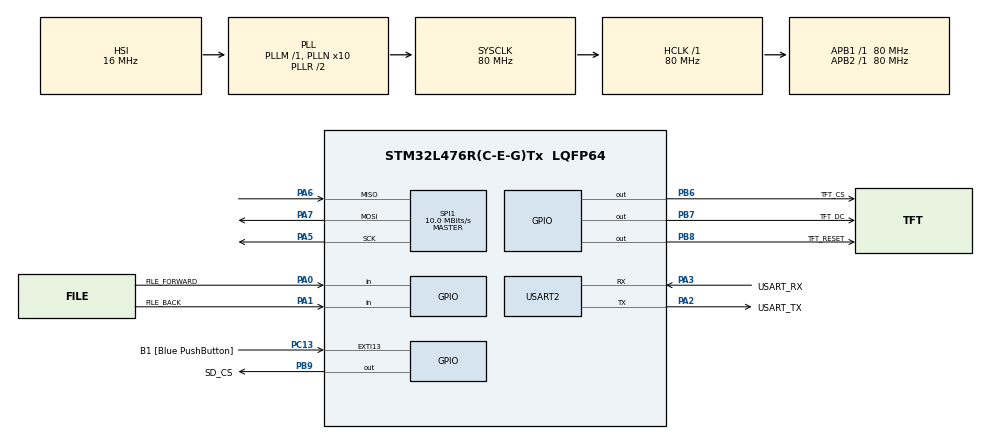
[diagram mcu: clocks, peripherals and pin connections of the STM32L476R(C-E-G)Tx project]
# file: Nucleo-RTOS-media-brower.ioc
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FATFS._USE_LFN=2
FREERTOS.Mutexes01=spiMutex,Dynamic,NULL,Available;fileMutex,Dynamic,NULL,Available
FREERTOS.Tasks01=defaultTask,8,128,StartDefaultTask,Default,NULL,Dynamic,NULL,NULL;DisplayTask,24,1024,DisplayTaskEntry,Default,NULL,Dynamic,NULL,NULL;SDCardTask,16,1024,SDCardTaskEntry,Default,NULL,Dynamic,NULL,NULL;ButtonTask,24,128,ButtonTaskEntry,Default,NULL,Dynamic,NULL,NULL
FREERTOS.configTOTAL_HEAP_SIZE=30720
Mcu.Family=STM32L4
Mcu.Name=STM32L476R(C-E-G)Tx
Mcu.Package=LQFP64
NVIC.PriorityGroup=NVIC_PRIORITYGROUP_4
NVIC.TIM6_DAC_IRQn=true\:15\:0\:false\:false\:true\:false\:false\:true\:true
NVIC.TimeBase=TIM6_DAC_IRQn
NVIC.TimeBaseIP=TIM6
PA0.GPIO_Label=FILE_FORWARD
PA0.GPIO_PuPd=GPIO_PULLUP
PA0.Signal=GPIO_Input
PA1.GPIO_Label=FILE_BACK
PA1.GPIO_PuPd=GPIO_PULLUP
PA1.Signal=GPIO_Input
PA13\ (JTMS-SWDIO).GPIO_Label=TMS
PA13\ (JTMS-SWDIO).Mode=Serial_Wire
PA13\ (JTMS-SWDIO).Signal=SYS_JTMS-SWDIO
PA14\ (JTCK-SWCLK).GPIO_Label=TCK
PA14\ (JTCK-SWCLK).Mode=Serial_Wire
PA14\ (JTCK-SWCLK).Signal=SYS_JTCK-SWCLK
PA2.GPIO_Label=USART_TX
PA2.GPIO_Mode=GPIO_MODE_AF_PP
PA2.GPIO_PuPd=GPIO_NOPULL
PA2.GPIO_Speed=GPIO_SPEED_FREQ_VERY_HIGH
PA2.Mode=Asynchronous
PA2.Signal=USART2_TX
PA3.GPIO_Label=USART_RX
PA3.GPIO_Mode=GPIO_MODE_AF_PP
PA3.GPIO_PuPd=GPIO_NOPULL
PA3.GPIO_Speed=GPIO_SPEED_FREQ_VERY_HIGH
PA3.Mode=Asynchronous
PA3.Signal=USART2_RX
PA5.Mode=Full_Duplex_Master
PA5.Signal=SPI1_SCK
PA6.Mode=Full_Duplex_Master
PA6.Signal=SPI1_MISO
PA7.Mode=Full_Duplex_Master
PA7.Signal=SPI1_MOSI
PB3\ (JTDO-TRACESWO).GPIO_Label=SWO
PB3\ (JTDO-TRACESWO).Signal=SYS_JTDO-SWO
PB6.GPIO_Label=TFT_CS
PB6.Signal=GPIO_Output
PB7.GPIO_Label=TFT_DC
PB7.Signal=GPIO_Output
PB8.GPIO_Label=TFT_RESET
PB8.Signal=GPIO_Output
PB9.GPIO_Label=SD_CS
PB9.Signal=GPIO_Output
PC13.GPIO_Label=B1 [Blue PushButton]
PC13.GPIO_ModeDefaultEXTI=GPIO_MODE_IT_FALLING
PC13.GPIO_PuPd=GPIO_NOPULL
PC13.Signal=GPXTI13
PC14-OSC32_IN\ (PC14).Mode=LSE-External-Oscillator
PC14-OSC32_IN\ (PC14).Signal=RCC_OSC32_IN
PC15-OSC32_OUT\ (PC15).Mode=LSE-External-Oscillator
PC15-OSC32_OUT\ (PC15).Signal=RCC_OSC32_OUT
PH0-OSC_IN\ (PH0).Signal=RCC_OSC_IN
PH1-OSC_OUT\ (PH1).Signal=RCC_OSC_OUT
ProjectManager.HeapSize=0x200
ProjectManager.StackSize=0x400
ProjectManager.TargetToolchain=STM32CubeIDE
RCC.ADCFreq_Value=64000000
RCC.AHBFreq_Value=80000000
RCC.APB1Freq_Value=80000000
RCC.APB1TimFreq_Value=80000000
RCC.APB2Freq_Value=80000000
RCC.APB2TimFreq_Value=80000000
RCC.CortexFreq_Value=80000000
RCC.HCLKFreq_Value=80000000
RCC.HSE_VALUE=8000000
RCC.HSI_VALUE=16000000
RCC.MSI_VALUE=4000000
RCC.PLLN=10
RCC.PLLSourceVirtual=RCC_PLLSOURCE_HSI
RCC.PREFETCH_ENABLE=1
RCC.SYSCLKFreq_VALUE=80000000
RCC.SYSCLKSource=RCC_SYSCLKSOURCE_PLLCLK
RCC.USBFreq_Value=64000000
RCC.VCOOutputFreq_Value=160000000
SPI1.BaudRatePrescaler=SPI_BAUDRATEPRESCALER_8
SPI1.CalculateBaudRate=10.0 MBits/s
SPI1.DataSize=SPI_DATASIZE_8BIT
SPI1.Direction=SPI_DIRECTION_2LINES
SPI1.Mode=SPI_MODE_MASTER
SPI1.VirtualType=VM_MASTER
USART2.VirtualMode-Asynchronous=VM_ASYNC
VP_FATFS_VS_Generic.Mode=User_defined
VP_FREERTOS_VS_CMSIS_V2.Mode=CMSIS_V2
VP_SYS_VS_tim6.Mode=TIM6
board=NUCLEO-L476RG

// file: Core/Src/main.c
/* USER CODE BEGIN Header */
/**
  ******************************************************************************
  * @file           : main.c
  * @brief          : Main program body
  ******************************************************************************
  * @attention
  *
  * Copyright (c) 2026 STMicroelectronics.
  * All rights reserved.
  *
  * This software is licensed under terms that can be found in the LICENSE file
  * in the root directory of this software component.
  * If no LICENSE file comes with this software, it is provided AS-IS.
  *
  ******************************************************************************
  */
/* USER CODE END Header */
#include "main.h"
#include "cmsis_os.h"
#include "fatfs.h"

/* USER CODE BEGIN Includes */
#include <stdio.h>
#include "ILI9341_STM32_Driver.h"
#include "ILI9341_GFX.h"
#include "5x5_font.h"
#include <string.h>
/* USER CODE END Includes */

/* USER CODE BEGIN PD */
#define INFO_AREA_X 10
#define INFO_AREA_Y 30
#define MAX_LINE_CHARS 38  // max characters per line
#define MAX_TEXT_LENGTH 512
#define MAX_FILE_NUMBER 32
#define SHARED_BUFFER_SIZE 512
/* USER CODE END PD */

SPI_HandleTypeDef hspi1;

UART_HandleTypeDef huart2;

/* Definitions for defaultTask */
osThreadId_t defaultTaskHandle;
const osThreadAttr_t defaultTask_attributes = {
  .name = "defaultTask",
  .stack_size = 128 * 4,
  .priority = (osPriority_t) osPriorityLow,
};
/* Definitions for DisplayTask */
osThreadId_t DisplayTaskHandle;
const osThreadAttr_t DisplayTask_attributes = {
  .name = "DisplayTask",
  .stack_size = 1024 * 4,
  .priority = (osPriority_t) osPriorityNormal,
};
/* Definitions for SDCardTask */
osThreadId_t SDCardTaskHandle;
const osThreadAttr_t SDCardTask_attributes = {
  .name = "SDCardTask",
  .stack_size = 1024 * 4,
  .priority = (osPriority_t) osPriorityBelowNormal,
};
/* Definitions for ButtonTask */
osThreadId_t ButtonTaskHandle;
const osThreadAttr_t ButtonTask_attributes = {
  .name = "ButtonTask",
  .stack_size = 128 * 4,
  .priority = (osPriority_t) osPriorityNormal,
};
/* Definitions for spiMutex */
osMutexId_t spiMutexHandle;
const osMutexAttr_t spiMutex_attributes = {
  .name = "spiMutex"
};
/* Definitions for fileMutex */
osMutexId_t fileMutexHandle;
const osMutexAttr_t fileMutex_attributes = {
  .name = "fileMutex"
};
/* USER CODE BEGIN PV */
volatile uint8_t cycle_next_flag = 0;
volatile uint8_t cycle_prev_flag = 0;
volatile uint8_t read_file_flag = 1;
char shared_file_buffer[SHARED_BUFFER_SIZE];
volatile uint8_t file_content_updated = 0;
/* USER CODE END PV */

void SystemClock_Config(void);
static void MX_GPIO_Init(void);
static void MX_USART2_UART_Init(void);
static void MX_SPI1_Init(void);
void StartDefaultTask(void *argument);
void DisplayTaskEntry(void *argument);
void SDCardTaskEntry(void *argument);
void ButtonTaskEntry(void *argument);

/* USER CODE BEGIN 0 */
// Redirect printf to UART
int _write(int file, char *ptr, int len)
{
  HAL_UART_Transmit(&huart2, (uint8_t*)ptr, len, HAL_MAX_DELAY);
  return len;
}
/* USER CODE END 0 */

int main(void)
{

  /* MCU Configuration--------------------------------------------------------*/

  /* Reset of all peripherals, Initializes the Flash interface and the Systick. */
  HAL_Init();

  /* Configure the system clock */
  SystemClock_Config();

  /* Initialize all configured peripherals */
  MX_GPIO_Init();
  MX_USART2_UART_Init();
  MX_FATFS_Init();
  MX_SPI1_Init();

  /* Init scheduler */
  osKernelInitialize();
  /* Create the mutex(es) */
  /* creation of spiMutex */
  spiMutexHandle = osMutexNew(&spiMutex_attributes);

  /* creation of fileMutex */
  fileMutexHandle = osMutexNew(&fileMutex_attributes);

  /* Create the thread(s) */
  /* creation of defaultTask */
  defaultTaskHandle = osThreadNew(StartDefaultTask, NULL, &defaultTask_attributes);

  /* creation of DisplayTask */
  DisplayTaskHandle = osThreadNew(DisplayTaskEntry, NULL, &DisplayTask_attributes);

  /* creation of SDCardTask */
  SDCardTaskHandle = osThreadNew(SDCardTaskEntry, NULL, &SDCardTask_attributes);

  /* creation of ButtonTask */
  ButtonTaskHandle = osThreadNew(ButtonTaskEntry, NULL, &ButtonTask_attributes);

  /* Start scheduler */
  osKernelStart();

  /* We should never get here as control is now taken by the scheduler */

  /* Infinite loop */
  while (1)
  {

  }
}

void SystemClock_Config(void)
{
  RCC_OscInitTypeDef RCC_OscInitStruct = {0};
  RCC_ClkInitTypeDef RCC_ClkInitStruct = {0};

  /** Configure the main internal regulator output voltage
  */
  if (HAL_PWREx_ControlVoltageScaling(PWR_REGULATOR_VOLTAGE_SCALE1) != HAL_OK)
  {
    Error_Handler();
  }

  /** Initializes the RCC Oscillators according to the specified parameters
  * in the RCC_OscInitTypeDef structure.
  */
  RCC_OscInitStruct.OscillatorType = RCC_OSCILLATORTYPE_HSI;
  RCC_OscInitStruct.HSIState = RCC_HSI_ON;
  RCC_OscInitStruct.HSICalibrationValue = RCC_HSICALIBRATION_DEFAULT;
  RCC_OscInitStruct.PLL.PLLState = RCC_PLL_ON;
  RCC_OscInitStruct.PLL.PLLSource = RCC_PLLSOURCE_HSI;
  RCC_OscInitStruct.PLL.PLLM = 1;
  RCC_OscInitStruct.PLL.PLLN = 10;
  RCC_OscInitStruct.PLL.PLLP = RCC_PLLP_DIV7;
  RCC_OscInitStruct.PLL.PLLQ = RCC_PLLQ_DIV2;
  RCC_OscInitStruct.PLL.PLLR = RCC_PLLR_DIV2;
  if (HAL_RCC_OscConfig(&RCC_OscInitStruct) != HAL_OK)
  {
    Error_Handler();
  }

  /** Initializes the CPU, AHB and APB buses clocks
  */
  RCC_ClkInitStruct.ClockType = RCC_CLOCKTYPE_HCLK|RCC_CLOCKTYPE_SYSCLK
                              |RCC_CLOCKTYPE_PCLK1|RCC_CLOCKTYPE_PCLK2;
  RCC_ClkInitStruct.SYSCLKSource = RCC_SYSCLKSOURCE_PLLCLK;
  RCC_ClkInitStruct.AHBCLKDivider = RCC_SYSCLK_DIV1;
  RCC_ClkInitStruct.APB1CLKDivider = RCC_HCLK_DIV1;
  RCC_ClkInitStruct.APB2CLKDivider = RCC_HCLK_DIV1;

  if (HAL_RCC_ClockConfig(&RCC_ClkInitStruct, FLASH_LATENCY_4) != HAL_OK)
  {
    Error_Handler();
  }
}

static void MX_SPI1_Init(void)
{

  /* SPI1 parameter configuration*/
  hspi1.Instance = SPI1;
  hspi1.Init.Mode = SPI_MODE_MASTER;
  hspi1.Init.Direction = SPI_DIRECTION_2LINES;
  hspi1.Init.DataSize = SPI_DATASIZE_8BIT;
  hspi1.Init.CLKPolarity = SPI_POLARITY_LOW;
  hspi1.Init.CLKPhase = SPI_PHASE_1EDGE;
  hspi1.Init.NSS = SPI_NSS_SOFT;
  hspi1.Init.BaudRatePrescaler = SPI_BAUDRATEPRESCALER_8;
  hspi1.Init.FirstBit = SPI_FIRSTBIT_MSB;
  hspi1.Init.TIMode = SPI_TIMODE_DISABLE;
  hspi1.Init.CRCCalculation = SPI_CRCCALCULATION_DISABLE;
  hspi1.Init.CRCPolynomial = 7;
  hspi1.Init.CRCLength = SPI_CRC_LENGTH_DATASIZE;
  hspi1.Init.NSSPMode = SPI_NSS_PULSE_ENABLE;
  if (HAL_SPI_Init(&hspi1) != HAL_OK)
  {
    Error_Handler();
  }

}

static void MX_USART2_UART_Init(void)
{

  huart2.Instance = USART2;
  huart2.Init.BaudRate = 115200;
  huart2.Init.WordLength = UART_WORDLENGTH_8B;
  huart2.Init.StopBits = UART_STOPBITS_1;
  huart2.Init.Parity = UART_PARITY_NONE;
  huart2.Init.Mode = UART_MODE_TX_RX;
  huart2.Init.HwFlowCtl = UART_HWCONTROL_NONE;
  huart2.Init.OverSampling = UART_OVERSAMPLING_16;
  huart2.Init.OneBitSampling = UART_ONE_BIT_SAMPLE_DISABLE;
  huart2.AdvancedInit.AdvFeatureInit = UART_ADVFEATURE_NO_INIT;
  if (HAL_UART_Init(&huart2) != HAL_OK)
  {
    Error_Handler();
  }

}

static void MX_GPIO_Init(void)
{
  GPIO_InitTypeDef GPIO_InitStruct = {0};

  /* GPIO Ports Clock Enable */
  __HAL_RCC_GPIOC_CLK_ENABLE();
  __HAL_RCC_GPIOH_CLK_ENABLE();
  __HAL_RCC_GPIOA_CLK_ENABLE();
  __HAL_RCC_GPIOB_CLK_ENABLE();

  /*Configure GPIO pin Output Level */
  HAL_GPIO_WritePin(GPIOB, TFT_CS_Pin|TFT_DC_Pin|TFT_RESET_Pin|SD_CS_Pin, GPIO_PIN_RESET);

  /*Configure GPIO pin : B1_Pin */
  GPIO_InitStruct.Pin = B1_Pin;
  GPIO_InitStruct.Mode = GPIO_MODE_IT_FALLING;
  GPIO_InitStruct.Pull = GPIO_NOPULL;
  HAL_GPIO_Init(B1_GPIO_Port, &GPIO_InitStruct);

  /*Configure GPIO pins : FILE_FORWARD_Pin FILE_BACK_Pin */
  GPIO_InitStruct.Pin = FILE_FORWARD_Pin|FILE_BACK_Pin;
  GPIO_InitStruct.Mode = GPIO_MODE_INPUT;
  GPIO_InitStruct.Pull = GPIO_PULLUP;
  HAL_GPIO_Init(GPIOA, &GPIO_InitStruct);

  /*Configure GPIO pins : TFT_CS_Pin TFT_DC_Pin TFT_RESET_Pin SD_CS_Pin */
  GPIO_InitStruct.Pin = TFT_CS_Pin|TFT_DC_Pin|TFT_RESET_Pin|SD_CS_Pin;
  GPIO_InitStruct.Mode = GPIO_MODE_OUTPUT_PP;
  GPIO_InitStruct.Pull = GPIO_NOPULL;
  GPIO_InitStruct.Speed = GPIO_SPEED_FREQ_LOW;
  HAL_GPIO_Init(GPIOB, &GPIO_InitStruct);

}

void StartDefaultTask(void *argument)
{
  for(;;)
  {
    osDelay(1);
  }
}

void DisplayTaskEntry(void *argument)
{
  /* USER CODE BEGIN DisplayTaskEntry */

  uint16_t bg_color = BLACK;
  uint16_t text_color = CYAN;
  char local_buffer[SHARED_BUFFER_SIZE];

  printf("Display: Init starting\r\n");
  ILI9341_Init();
  printf("Display: Init complete\r\n");
  ILI9341_Fill_Screen(bg_color);
  /* Infinite loop */
  for(;;) {
	  if(file_content_updated) {
		  printf(">>> Display: Flag detected! <<<\r\n");  // DEBUG
          // Copy shared buffer to local buffer (thread-safe)
          osMutexAcquire(fileMutexHandle, osWaitForever);
          strncpy(local_buffer, shared_file_buffer, SHARED_BUFFER_SIZE - 1);
          printf("Display: Copied %d chars to local buffer\r\n", strlen(local_buffer));  // DEBUG
          local_buffer[SHARED_BUFFER_SIZE - 1] = '\0';
          file_content_updated = 0;  // Clear flag
          osMutexRelease(fileMutexHandle);

          // Clear display area
          ILI9341_Fill_Screen(bg_color);
		  // Draw header
		  ILI9341_Draw_Text("STM32 Display Test", 10, 10, YELLOW, 2, bg_color);
		  const char *p = local_buffer;   // start of string
		  uint8_t cursor_x = INFO_AREA_X;
		  uint8_t cursor_y = INFO_AREA_Y;
		  static char line_buf[MAX_LINE_CHARS + 1] = {0};
		  uint8_t line_idx = 0;

		  while(*p)  // loop until null terminator
		  {
			  char c = *p++;  // get current char, advance pointer

			  if(c == '\n' || line_idx >= MAX_LINE_CHARS)
			  {
				  // terminate current line
				  line_buf[line_idx] = '\0';
				  ILI9341_Draw_Text(line_buf, cursor_x, cursor_y, text_color, 1, bg_color);

				  // reset buffer
				  line_idx = 0;
				  cursor_y += 8; // 5x5 font + 1px spacing

				  if(c == '\n') continue; // skip storing newline
			  }

			  line_buf[line_idx++] = c;
		  }

		  // draw any remaining characters
		  if(line_idx > 0)
		  {
			  line_buf[line_idx] = '\0';
			  ILI9341_Draw_Text(line_buf, cursor_x, cursor_y, text_color, 1, bg_color);
		  }

		  // draw any remaining characters
		  if(line_idx > 0)
		  {
			  line_buf[line_idx] = '\0';
			  ILI9341_Draw_Text(line_buf, cursor_x, cursor_y, text_color, 1, bg_color);
		  }
		  printf("Display Updated\r\n");
	}
	//      UBaseType_t highWaterMark = uxTaskGetStackHighWaterMark(NULL); // NULL = current task
	//      printf("Free stack words left: %lu\n", highWaterMark);
    osDelay(100); // wait before refreshing
  }
  /* USER CODE END DisplayTaskEntry */
}

void SDCardTaskEntry(void *argument)
{
  /* USER CODE BEGIN SDCardTaskEntry */
  FATFS FatFs;
  FIL File;
  FRESULT fres;
  UINT bytesRead;
  DSTATUS stat;
  DIR dir;
  FILINFO fno;
  static uint8_t fileIndex = 0;
  static char fileList[MAX_FILE_NUMBER][50];  // Store up to MAX_FILE_NUMBER filenames (47.3 format)
  static uint8_t fileCount = 0;

  osDelay(500);

  printf("SD Card Test Starting...\r\n");

  // Check disk status before mount
  stat = disk_initialize(0);
  printf("disk_initialize returned: %d (0=OK, 1=NOINIT, 2=NOTRDY, 4=PROTECT)\r\n", stat);

  if(stat != 0) {
      printf("Disk initialization failed!\r\n");
      while(1) { osDelay(1000); }
  }

  // Mount the SD card
  fres = f_mount(&FatFs, "", 1);
  if(fres != FR_OK) {
      printf("f_mount error: %d\r\n", fres);
      while(1) { osDelay(1000); }
  }
  printf("SD Card mounted successfully!\r\n");

  // Scan directory and build file list
  fres = f_opendir(&dir, "/sappy_notes");
  if(fres == FR_OK) {
      while(1) {
          fres = f_readdir(&dir, &fno);
          if(fres != FR_OK || fno.fname[0] == 0) break;  // Break on error or end

          // Skip directories and hidden files
          if(!(fno.fattrib & AM_DIR) && fno.fname[0] != '.') {
              if(fileCount < MAX_FILE_NUMBER) {
            	  sprintf(fileList[fileCount], "/sappy_notes/%s", fno.fname);
                  printf("Found file: %s\r\n", fileList[fileCount]);
                  fileCount++;
              }
          }
      }
      f_closedir(&dir);
      printf("Total files found: %d\r\n", fileCount);
  } else {
      printf("f_opendir error: %d\r\n", fres);
      while(1) { osDelay(1000); }
  }

  if(fileCount == 0) {
      printf("No files found on SD card!\r\n");
      while(1) { osDelay(1000); }
  }

  /* Infinite loop */
  for(;;)
  {
      // ========== CHECK BUTTON FLAGS ==========
      if(cycle_next_flag) {
          cycle_next_flag = 0;  // Clear flag
          fileIndex = (fileIndex + 1) % fileCount;  // Cycle forward
          printf("\n>>> NEXT: Cycling to file %d/%d <<<\r\n", fileIndex + 1, fileCount);
          read_file_flag = 1;
      }

      if(cycle_prev_flag) {
          cycle_prev_flag = 0;  // Clear flag
          // Cycle backward (wrap around)
          fileIndex = (fileIndex == 0) ? (fileCount - 1) : (fileIndex - 1);
          printf("\n>>> PREV: Cycling to file %d/%d <<<\r\n", fileIndex + 1, fileCount);
          read_file_flag = 1;
      }
      if(read_file_flag) {
          read_file_flag = 0;  // Clear flag immediately
          printf(">>> About to read file <<<\r\n");  // DEBUG
		  // ========== OPEN AND READ CURRENT FILE ==========
		  printf("\r\n--- Reading file %d/%d: %s ---\r\n",
				 fileIndex + 1, fileCount, fileList[fileIndex]);

		  fres = f_open(&File, fileList[fileIndex], FA_READ);
		  if(fres != FR_OK) {
			  printf("f_open error: %d\r\n", fres);
              osMutexAcquire(fileMutexHandle, osWaitForever);
              snprintf(shared_file_buffer, SHARED_BUFFER_SIZE,
                       "Error: Could not open file\n%s", fileList[fileIndex]);
              file_content_updated = 1;
              osMutexRelease(fileMutexHandle);
		  } else {
			  // Read the file
			  osMutexAcquire(fileMutexHandle, osWaitForever);
			  fres = f_read(&File, shared_file_buffer, SHARED_BUFFER_SIZE - 1, &bytesRead);
			  if(fres == FR_OK) {
				  shared_file_buffer[bytesRead] = '\0';  // Null-terminate
				  printf("File contents (%u bytes): %s\r\n", bytesRead, shared_file_buffer);
				  file_content_updated = 1;
			  } else {
				  printf("f_read error: %d\r\n", fres);
				  file_content_updated = 1;
			  }

			  // Close the file
			  osMutexRelease(fileMutexHandle);
			  f_close(&File);
		  }
      }
      osDelay(100);

      // ========== AUTO-PLAY (OPTIONAL) ==========
      // Comment out these lines if you only want button control
//      if(autoPlay) {
//          osDelay(5000);  // Wait 5 seconds
//          fileIndex = (fileIndex + 1) % fileCount;  // Auto-cycle
//          printf("\n>>> AUTO: Moving to next file <<<\r\n");
//      } else {
//          osDelay(100);  // Short delay for responsive button checking
//      }
  }
  /* USER CODE END SDCardTaskEntry */
}

void ButtonTaskEntry(void *argument)
{
  /* USER CODE BEGIN ButtonTaskEntry */
	  uint8_t btn_next_prev = GPIO_PIN_SET;
	  uint8_t btn_prev_prev = GPIO_PIN_SET;

	  printf("Button Task Started\r\n");
  /* Infinite loop */
	  for(;;)
		  {
		    // Read current button states
		    uint8_t btn_next_current = HAL_GPIO_ReadPin(FILE_FORWARD_GPIO_Port, FILE_FORWARD_Pin);
		    uint8_t btn_prev_current = HAL_GPIO_ReadPin(FILE_BACK_GPIO_Port, FILE_BACK_Pin);

		    // Detect NEXT button press (falling edge: HIGH -> LOW)
		    if(btn_next_prev == GPIO_PIN_SET && btn_next_current == GPIO_PIN_RESET) {
		      cycle_next_flag = 1;
		      printf("Next button pressed!\r\n");
		    }

		    // Detect PREV button press (falling edge: HIGH -> LOW)
		    if(btn_prev_prev == GPIO_PIN_SET && btn_prev_current == GPIO_PIN_RESET) {
		      cycle_prev_flag = 1;
		      printf("Prev button pressed!\r\n");
		    }

		    // Save current state for next iteration
		    btn_next_prev = btn_next_current;
		    btn_prev_prev = btn_prev_current;

		    // Delay 50ms (acts as debounce filter)
		    osDelay(50);
		  }
  /* USER CODE END ButtonTaskEntry */
}

void HAL_TIM_PeriodElapsedCallback(TIM_HandleTypeDef *htim)
{
  if (htim->Instance == TIM6)
  {
    HAL_IncTick();
  }
}

void Error_Handler(void)
{
  __disable_irq();
  while (1)
  {
  }
}
